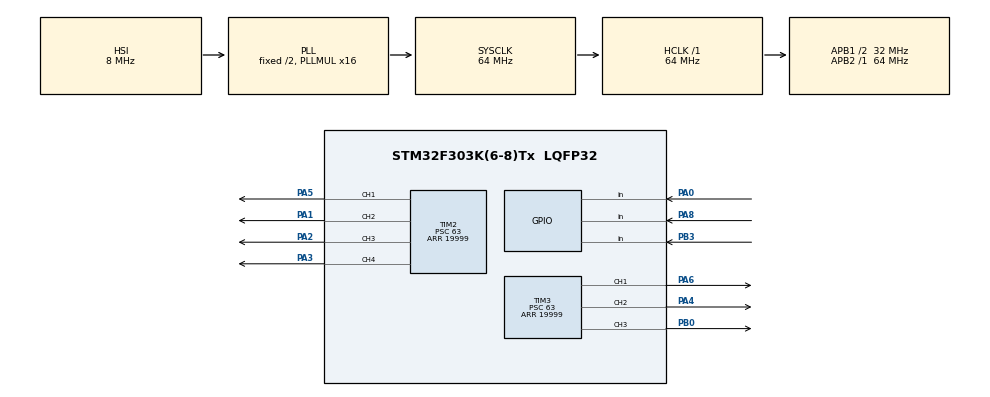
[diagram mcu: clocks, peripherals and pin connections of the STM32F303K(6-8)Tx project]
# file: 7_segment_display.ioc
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Mcu.Family=STM32F3
Mcu.Name=STM32F303K(6-8)Tx
Mcu.Package=LQFP32
NVIC.PriorityGroup=NVIC_PRIORITYGROUP_4
NVIC.TIM2_IRQn=true\:0\:0\:false\:false\:true\:true\:true\:true
NVIC.TIM3_IRQn=true\:0\:0\:false\:false\:true\:true\:true\:true
PA0.GPIO_PuPd=GPIO_PULLDOWN
PA0.Signal=GPIO_Input
PA1.Signal=S_TIM2_CH2
PA13.Mode=Serial_Wire
PA13.Signal=SYS_JTMS-SWDIO
PA14.Mode=Serial_Wire
PA14.Signal=SYS_JTCK-SWCLK
PA2.Signal=S_TIM2_CH3
PA3.Signal=S_TIM2_CH4
PA4.Signal=S_TIM3_CH2
PA5.Signal=S_TIM2_CH1_ETR
PA6.Signal=S_TIM3_CH1
PA8.GPIO_PuPd=GPIO_PULLDOWN
PA8.Signal=GPIO_Input
PB0.Signal=S_TIM3_CH3
PB3.GPIO_PuPd=GPIO_PULLDOWN
PB3.Signal=GPIO_Input
PF0\ /\ OSC_IN.Mode=HSE-External-Oscillator
PF0\ /\ OSC_IN.Signal=RCC_OSC_IN
PF1\ /\ OSC_OUT.Mode=HSE-External-Oscillator
PF1\ /\ OSC_OUT.Signal=RCC_OSC_OUT
ProjectManager.HeapSize=0x200
ProjectManager.StackSize=0x400
ProjectManager.TargetToolchain=STM32CubeIDE
RCC.AHBFreq_Value=64000000
RCC.APB1CLKDivider=RCC_HCLK_DIV2
RCC.APB1Freq_Value=32000000
RCC.APB1TimFreq_Value=64000000
RCC.APB2Freq_Value=64000000
RCC.APB2TimFreq_Value=64000000
RCC.CortexFreq_Value=64000000
RCC.HCLKFreq_Value=64000000
RCC.HSE_VALUE=8000000
RCC.HSI_VALUE=8000000
RCC.PLLMUL=RCC_PLL_MUL16
RCC.SYSCLKFreq_VALUE=64000000
RCC.SYSCLKSourceVirtual=RCC_SYSCLKSOURCE_PLLCLK
SH.S_TIM2_CH1_ETR.0=TIM2_CH1,PWM Generation1 CH1
SH.S_TIM2_CH2.0=TIM2_CH2,PWM Generation2 CH2
SH.S_TIM2_CH3.0=TIM2_CH3,PWM Generation3 CH3
SH.S_TIM2_CH4.0=TIM2_CH4,PWM Generation4 CH4
SH.S_TIM3_CH1.0=TIM3_CH1,PWM Generation1 CH1
SH.S_TIM3_CH2.0=TIM3_CH2,PWM Generation2 CH2
SH.S_TIM3_CH3.0=TIM3_CH3,PWM Generation3 CH3
TIM2.Channel-PWM\ Generation1\ CH1=TIM_CHANNEL_1
TIM2.Channel-PWM\ Generation2\ CH2=TIM_CHANNEL_2
TIM2.Channel-PWM\ Generation3\ CH3=TIM_CHANNEL_3
TIM2.Channel-PWM\ Generation4\ CH4=TIM_CHANNEL_4
TIM2.Period=19999
TIM2.Prescaler=63
TIM3.Channel-PWM\ Generation1\ CH1=TIM_CHANNEL_1
TIM3.Channel-PWM\ Generation2\ CH2=TIM_CHANNEL_2
TIM3.Channel-PWM\ Generation3\ CH3=TIM_CHANNEL_3
TIM3.Period=19999
TIM3.Prescaler=63
VP_TIM2_VS_ClockSourceINT.Mode=Internal
VP_TIM3_VS_ClockSourceINT.Mode=Internal
board=custom

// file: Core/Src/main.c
/* USER CODE BEGIN Header */
/**
  ******************************************************************************
  * @file           : main.c
  * @brief          : Main program body
  ******************************************************************************
  * @attention
  *
  * Copyright (c) 2025 STMicroelectronics.
  * All rights reserved.
  *
  * This software is licensed under terms that can be found in the LICENSE file
  * in the root directory of this software component.
  * If no LICENSE file comes with this software, it is provided AS-IS.
  *
  ******************************************************************************
  */
/* USER CODE END Header */
#include "main.h"

TIM_HandleTypeDef htim2;
TIM_HandleTypeDef htim3;

void SystemClock_Config(void);
static void MX_GPIO_Init(void);
static void MX_TIM3_Init(void);
static void MX_TIM2_Init(void);

/* USER CODE BEGIN 0 */

int ct = 0;
int	btn1 = 0;
int	btn_onceki = 0;
int cokluBtn = 0;

void setServoAngleC(uint8_t htim_no, uint8_t tim_channel) {

    uint16_t pulse_length = 1000;

    TIM_HandleTypeDef* htim;

    switch (htim_no) {
        case 2: htim = &htim2; break;
        case 3: htim = &htim3; break;
        default: return;
    }

    uint32_t channel;
    switch (tim_channel) {
        case 1: channel = TIM_CHANNEL_1; break;
        case 2: channel = TIM_CHANNEL_2; break;
        case 3: channel = TIM_CHANNEL_3; break;
        case 4: channel = TIM_CHANNEL_4; break;
        default: return;
    }

    __HAL_TIM_SET_COMPARE(htim, channel, pulse_length);
}

void setServoAngleO(uint8_t htim_no, uint8_t tim_channel) {

    uint16_t pulse_length = 2000;

    TIM_HandleTypeDef* htim;

    switch (htim_no) {
        case 2: htim = &htim2; break;
        case 3: htim = &htim3; break;
        default: return;
    }

    uint32_t channel;
    switch (tim_channel) {
        case 1: channel = TIM_CHANNEL_1; break;
        case 2: channel = TIM_CHANNEL_2; break;
        case 3: channel = TIM_CHANNEL_3; break;
        case 4: channel = TIM_CHANNEL_4; break;
        default: return;
    }

    __HAL_TIM_SET_COMPARE(htim, channel, pulse_length);
}
/* USER CODE END 0 */

int main(void)
{

  /* MCU Configuration--------------------------------------------------------*/

  /* Reset of all peripherals, Initializes the Flash interface and the Systick. */
  HAL_Init();

  /* Configure the system clock */
  SystemClock_Config();

  /* Initialize all configured peripherals */
  MX_GPIO_Init();
  MX_TIM3_Init();
  MX_TIM2_Init();
  /* USER CODE BEGIN 2 */
  HAL_TIM_PWM_Start(&htim2, TIM_CHANNEL_2);
  HAL_TIM_PWM_Start(&htim2, TIM_CHANNEL_3);
  HAL_TIM_PWM_Start(&htim2, TIM_CHANNEL_4);
  HAL_TIM_PWM_Start(&htim3, TIM_CHANNEL_2);
  HAL_TIM_PWM_Start(&htim2, TIM_CHANNEL_1);
  HAL_TIM_PWM_Start(&htim3, TIM_CHANNEL_1);
  HAL_TIM_PWM_Start(&htim3, TIM_CHANNEL_3);

  /* USER CODE END 2 */

  /* Infinite loop */
  while (1)
  {

            	  if (ct % 10 == 1)
            	  {
            		setServoAngleC(2,2);
            		setServoAngleO(2,3);
            		setServoAngleO(2,4);
            		setServoAngleC(3,2);
            		setServoAngleC(2,1);
            		setServoAngleC(3,1);
            		setServoAngleC(3,3);
            	  }else
            	  if (ct % 10 == 2)
            	  {
          		setServoAngleO(2,2);
          		setServoAngleO(2,3);
          		setServoAngleC(2,4);
          		setServoAngleO(3,2);
          		setServoAngleO(2,1);
          		setServoAngleC(3,1);
          		setServoAngleO(3,3);
            	  }else
            	  if (ct % 10 == 3)
            	  {
          		setServoAngleO(2,2);
          		setServoAngleO(2,3);
          		setServoAngleO(2,4);
          		setServoAngleO(3,2);
          		setServoAngleC(2,1);
          		setServoAngleC(3,1);
          		setServoAngleO(3,3);
            	  }else
            	  if (ct % 10 == 4)
            	  {
          		setServoAngleC(2,2);
          		setServoAngleO(2,3);
          		setServoAngleO(2,4);
          		setServoAngleC(3,2);
          		setServoAngleC(2,1);
          		setServoAngleO(3,1);
          		setServoAngleO(3,3);
            	  }else
            	  if (ct % 10 == 5)
            	  {
          		setServoAngleO(2,2);
          		setServoAngleC(2,3);
          		setServoAngleO(2,4);
          		setServoAngleO(3,2);
          		setServoAngleC(2,1);
          		setServoAngleO(3,1);
          		setServoAngleO(3,3);
            	  }else
            	  if (ct % 10 == 6)
            	  {
          		setServoAngleO(2,2);
          		setServoAngleC(2,3);
          		setServoAngleO(2,4);
          		setServoAngleO(3,2);
          		setServoAngleO(2,1);
          		setServoAngleO(3,1);
          		setServoAngleO(3,3);
            	  }else
            	  if (ct % 10 == 7)
            	  {
          		setServoAngleO(2,2);
          		setServoAngleO(2,3);
          		setServoAngleO(2,4);
          		setServoAngleC(3,2);
          		setServoAngleC(2,1);
          		setServoAngleC(3,1);
          		setServoAngleC(3,3);
            	  }else
            	  if (ct % 10 ==8)
            	  {
          		setServoAngleO(2,2);
          		setServoAngleO(2,3);
          		setServoAngleO(2,4);
          		setServoAngleO(3,2);
          		setServoAngleO(2,1);
          		setServoAngleO(3,1);
          		setServoAngleO(3,3);
            	  }else
            	  if (ct % 10 == 9)
            	  {
          		setServoAngleO(2,2);
          		setServoAngleO(2,3);
          		setServoAngleO(2,4);
          		setServoAngleO(3,2);
          		setServoAngleC(2,1);
          		setServoAngleO(3,1);
          		setServoAngleO(3,3);
            	  }else
            	  if (ct % 10 == 0)
            	  {
          		setServoAngleO(2,2);
          		setServoAngleO(2,3);
          		setServoAngleO(2,4);
          		setServoAngleO(3,2);
          		setServoAngleO(2,1);
          		setServoAngleO(3,1);
          		setServoAngleC(3,3);
            	  }

            	HAL_Delay(20);

				if( HAL_GPIO_ReadPin(GPIOA, GPIO_PIN_8) == 0 & HAL_GPIO_ReadPin(GPIOB, GPIO_PIN_3)==0  ){
								  cokluBtn = 0;
				}
				else if(HAL_GPIO_ReadPin(GPIOB, GPIO_PIN_3) == 1 & HAL_GPIO_ReadPin(GPIOA, GPIO_PIN_8) == 0){
				  cokluBtn = 2;
				}
				else if(HAL_GPIO_ReadPin(GPIOA, GPIO_PIN_8) == 1 & HAL_GPIO_ReadPin(GPIOB, GPIO_PIN_3) == 0){
				  cokluBtn = 1;
				}

            	  if (cokluBtn == 1) {
            		  btn1 = HAL_GPIO_ReadPin(GPIOA, GPIO_PIN_0);
            		  HAL_Delay(50);
            		  if(btn1 == 1 && btn_onceki == 0){
            		  ct++;
            		  }
            		  btn_onceki = btn1;
    			  }else
            	  if (cokluBtn == 2){
    				  HAL_Delay(1000);
    				  ct++;
    			  }

        /* USER CODE END 3 */
      }
  /* USER CODE END 3 */
}

void SystemClock_Config(void)
{
  RCC_OscInitTypeDef RCC_OscInitStruct = {0};
  RCC_ClkInitTypeDef RCC_ClkInitStruct = {0};

  /** Initializes the RCC Oscillators according to the specified parameters
  * in the RCC_OscInitTypeDef structure.
  */
  RCC_OscInitStruct.OscillatorType = RCC_OSCILLATORTYPE_HSI;
  RCC_OscInitStruct.HSIState = RCC_HSI_ON;
  RCC_OscInitStruct.HSICalibrationValue = RCC_HSICALIBRATION_DEFAULT;
  RCC_OscInitStruct.PLL.PLLState = RCC_PLL_ON;
  RCC_OscInitStruct.PLL.PLLSource = RCC_PLLSOURCE_HSI;
  RCC_OscInitStruct.PLL.PLLMUL = RCC_PLL_MUL16;
  if (HAL_RCC_OscConfig(&RCC_OscInitStruct) != HAL_OK)
  {
    Error_Handler();
  }

  /** Initializes the CPU, AHB and APB buses clocks
  */
  RCC_ClkInitStruct.ClockType = RCC_CLOCKTYPE_HCLK|RCC_CLOCKTYPE_SYSCLK
                              |RCC_CLOCKTYPE_PCLK1|RCC_CLOCKTYPE_PCLK2;
  RCC_ClkInitStruct.SYSCLKSource = RCC_SYSCLKSOURCE_PLLCLK;
  RCC_ClkInitStruct.AHBCLKDivider = RCC_SYSCLK_DIV1;
  RCC_ClkInitStruct.APB1CLKDivider = RCC_HCLK_DIV2;
  RCC_ClkInitStruct.APB2CLKDivider = RCC_HCLK_DIV1;

  if (HAL_RCC_ClockConfig(&RCC_ClkInitStruct, FLASH_LATENCY_2) != HAL_OK)
  {
    Error_Handler();
  }
}

static void MX_TIM2_Init(void)
{

  TIM_ClockConfigTypeDef sClockSourceConfig = {0};
  TIM_MasterConfigTypeDef sMasterConfig = {0};
  TIM_OC_InitTypeDef sConfigOC = {0};

  htim2.Instance = TIM2;
  htim2.Init.Prescaler = 63;
  htim2.Init.CounterMode = TIM_COUNTERMODE_UP;
  htim2.Init.Period = 19999;
  htim2.Init.ClockDivision = TIM_CLOCKDIVISION_DIV1;
  htim2.Init.AutoReloadPreload = TIM_AUTORELOAD_PRELOAD_DISABLE;
  if (HAL_TIM_Base_Init(&htim2) != HAL_OK)
  {
    Error_Handler();
  }
  sClockSourceConfig.ClockSource = TIM_CLOCKSOURCE_INTERNAL;
  if (HAL_TIM_ConfigClockSource(&htim2, &sClockSourceConfig) != HAL_OK)
  {
    Error_Handler();
  }
  if (HAL_TIM_PWM_Init(&htim2) != HAL_OK)
  {
    Error_Handler();
  }
  sMasterConfig.MasterOutputTrigger = TIM_TRGO_RESET;
  sMasterConfig.MasterSlaveMode = TIM_MASTERSLAVEMODE_DISABLE;
  if (HAL_TIMEx_MasterConfigSynchronization(&htim2, &sMasterConfig) != HAL_OK)
  {
    Error_Handler();
  }
  sConfigOC.OCMode = TIM_OCMODE_PWM1;
  sConfigOC.Pulse = 0;
  sConfigOC.OCPolarity = TIM_OCPOLARITY_HIGH;
  sConfigOC.OCFastMode = TIM_OCFAST_DISABLE;
  if (HAL_TIM_PWM_ConfigChannel(&htim2, &sConfigOC, TIM_CHANNEL_1) != HAL_OK)
  {
    Error_Handler();
  }
  if (HAL_TIM_PWM_ConfigChannel(&htim2, &sConfigOC, TIM_CHANNEL_2) != HAL_OK)
  {
    Error_Handler();
  }
  if (HAL_TIM_PWM_ConfigChannel(&htim2, &sConfigOC, TIM_CHANNEL_3) != HAL_OK)
  {
    Error_Handler();
  }
  if (HAL_TIM_PWM_ConfigChannel(&htim2, &sConfigOC, TIM_CHANNEL_4) != HAL_OK)
  {
    Error_Handler();
  }
  HAL_TIM_MspPostInit(&htim2);

}

static void MX_TIM3_Init(void)
{

  TIM_ClockConfigTypeDef sClockSourceConfig = {0};
  TIM_MasterConfigTypeDef sMasterConfig = {0};
  TIM_OC_InitTypeDef sConfigOC = {0};

  htim3.Instance = TIM3;
  htim3.Init.Prescaler = 63;
  htim3.Init.CounterMode = TIM_COUNTERMODE_UP;
  htim3.Init.Period = 19999;
  htim3.Init.ClockDivision = TIM_CLOCKDIVISION_DIV1;
  htim3.Init.AutoReloadPreload = TIM_AUTORELOAD_PRELOAD_DISABLE;
  if (HAL_TIM_Base_Init(&htim3) != HAL_OK)
  {
    Error_Handler();
  }
  sClockSourceConfig.ClockSource = TIM_CLOCKSOURCE_INTERNAL;
  if (HAL_TIM_ConfigClockSource(&htim3, &sClockSourceConfig) != HAL_OK)
  {
    Error_Handler();
  }
  if (HAL_TIM_PWM_Init(&htim3) != HAL_OK)
  {
    Error_Handler();
  }
  sMasterConfig.MasterOutputTrigger = TIM_TRGO_RESET;
  sMasterConfig.MasterSlaveMode = TIM_MASTERSLAVEMODE_DISABLE;
  if (HAL_TIMEx_MasterConfigSynchronization(&htim3, &sMasterConfig) != HAL_OK)
  {
    Error_Handler();
  }
  sConfigOC.OCMode = TIM_OCMODE_PWM1;
  sConfigOC.Pulse = 0;
  sConfigOC.OCPolarity = TIM_OCPOLARITY_HIGH;
  sConfigOC.OCFastMode = TIM_OCFAST_DISABLE;
  if (HAL_TIM_PWM_ConfigChannel(&htim3, &sConfigOC, TIM_CHANNEL_1) != HAL_OK)
  {
    Error_Handler();
  }
  if (HAL_TIM_PWM_ConfigChannel(&htim3, &sConfigOC, TIM_CHANNEL_2) != HAL_OK)
  {
    Error_Handler();
  }
  if (HAL_TIM_PWM_ConfigChannel(&htim3, &sConfigOC, TIM_CHANNEL_3) != HAL_OK)
  {
    Error_Handler();
  }
  HAL_TIM_MspPostInit(&htim3);

}

static void MX_GPIO_Init(void)
{
  GPIO_InitTypeDef GPIO_InitStruct = {0};

  /* GPIO Ports Clock Enable */
  __HAL_RCC_GPIOF_CLK_ENABLE();
  __HAL_RCC_GPIOA_CLK_ENABLE();
  __HAL_RCC_GPIOB_CLK_ENABLE();

  /*Configure GPIO pins : PA0 PA8 */
  GPIO_InitStruct.Pin = GPIO_PIN_0|GPIO_PIN_8;
  GPIO_InitStruct.Mode = GPIO_MODE_INPUT;
  GPIO_InitStruct.Pull = GPIO_PULLDOWN;
  HAL_GPIO_Init(GPIOA, &GPIO_InitStruct);

  /*Configure GPIO pin : PB3 */
  GPIO_InitStruct.Pin = GPIO_PIN_3;
  GPIO_InitStruct.Mode = GPIO_MODE_INPUT;
  GPIO_InitStruct.Pull = GPIO_PULLDOWN;
  HAL_GPIO_Init(GPIOB, &GPIO_InitStruct);

}

void Error_Handler(void)
{
  __disable_irq();
  while (1)
  {
  }
}
